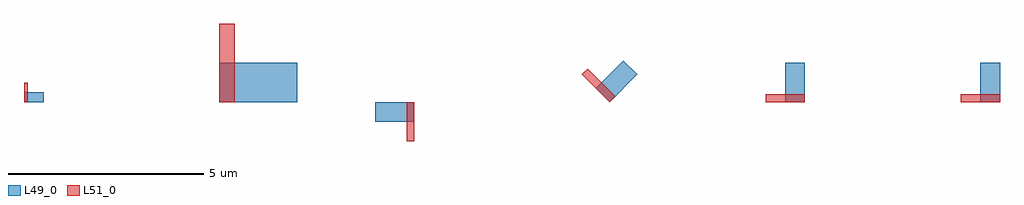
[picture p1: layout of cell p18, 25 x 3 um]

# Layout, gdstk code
from math import pi, radians
import gdstk
lib = gdstk.Library(unit=1e-6, precision=1e-09)
def R(c, l, rs):  # rectangles x0, y0, x1, y1
    for r in rs: c.add(gdstk.rectangle(r[:2], r[2:], *l))
L49_0 = (49, 0)
L51_0 = (51, 0)

c_c = lib.new_cell('c')
R(c_c, L49_0, [(0,0,1,0.5)])
R(c_c, L51_0, [(0,0,0.2,1)])

p18 = lib.new_cell('p18')
p18.add(gdstk.Reference(c_c, (0,0), magnification=0.5))
p18.add(gdstk.Reference(c_c, (5,0), magnification=2))
p18.add(gdstk.Reference(c_c, (10,0), magnification=-1))
p18.add(gdstk.Reference(c_c, (15,0), rotation=radians(45)))
p18.add(gdstk.Reference(c_c, (20,0), rotation=pi/2))
p18.add(gdstk.Reference(c_c, (25,0), rotation=pi/2))

lib.write_gds('p18.gds')
